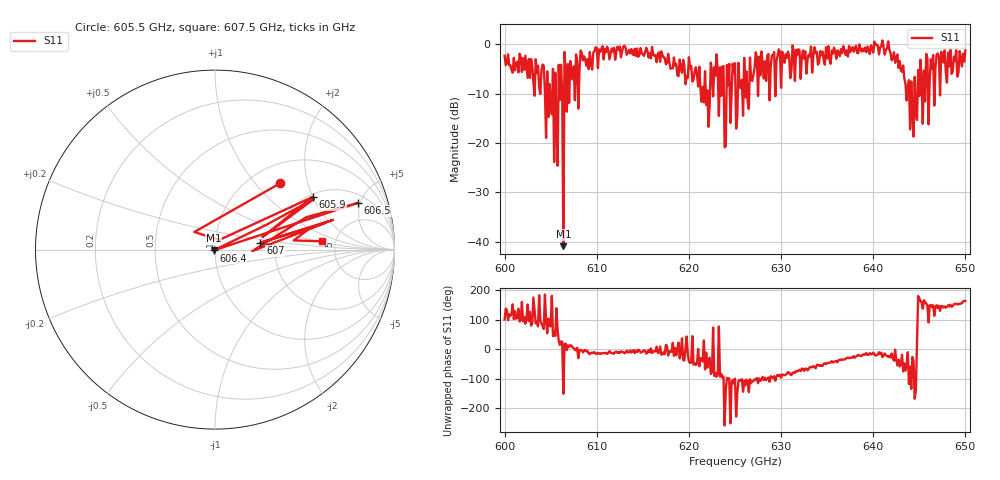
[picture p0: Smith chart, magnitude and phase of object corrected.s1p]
!Created with skrf (http://scikit-rf.org).
# GHz S MA R 50.0
!freq magS11 angS11
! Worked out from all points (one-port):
!   401 points, 600 GHz to 650 GHz, reference 50 ohm
!   lowest |S11| = -40.9 dB at 606.4 GHz (marker M1), VSWR 1.02, Z = 49.2 - j0.436 ohm
!   |S11| at or under -10 dB: 604.9461 GHz to 605.1818 GHz (235.6 MHz wide, 0.0389 % of centre); 605.5498 GHz to 605.8392 GHz (289.4 MHz wide, 0.0478 % of centre); 622.0119 GHz to 622.2841 GHz (272.2 MHz wide, 0.0438 % of centre) (the widest 3 of 39)
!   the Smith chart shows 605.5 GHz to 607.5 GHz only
!   S11 on the Smith chart (normalised r, x): 605.5 GHz: 1.35, +1.35; 605.9 GHz: 2.11, +2.02; 606.4 GHz: 0.98, -0.01; 606.5 GHz: 2.72, +4.79; 607 GHz: 1.67, +0.14; 607.5 GHz: 3.89, +0.56
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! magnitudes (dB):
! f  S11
! 600 GHz  -2.3
! 604.1 GHz  -4.1
! 605.5 GHz  -5.8
! 605.9 GHz  -4.1
! 606.2 GHz  -10.0
! 606.4 GHz  -40.9
! 606.5 GHz  -1.5
! 606.8 GHz  -13.6
! 607 GHz  -11.9
! 607.5 GHz  -4.5
! 612.5 GHz  -0.4
! 618.8 GHz  -6.3
! 620.9 GHz  -6.1
! 622 GHz  -9.3
! 622.8 GHz  -4.7
! 623.5 GHz  -10.4
! 623.8 GHz  -4.4
! 625 GHz  -3.8
! 626.6 GHz  -2.7
! 627.1 GHz  -4.8
! 631.2 GHz  -0.2
! 637.5 GHz  -1.6
! 641.6 GHz  0.6
! 643.8 GHz  -8.7
! 644.5 GHz  -6.6
! 645 GHz  -10.5
! 647.1 GHz  -2.5
! 650 GHz  -1.2
